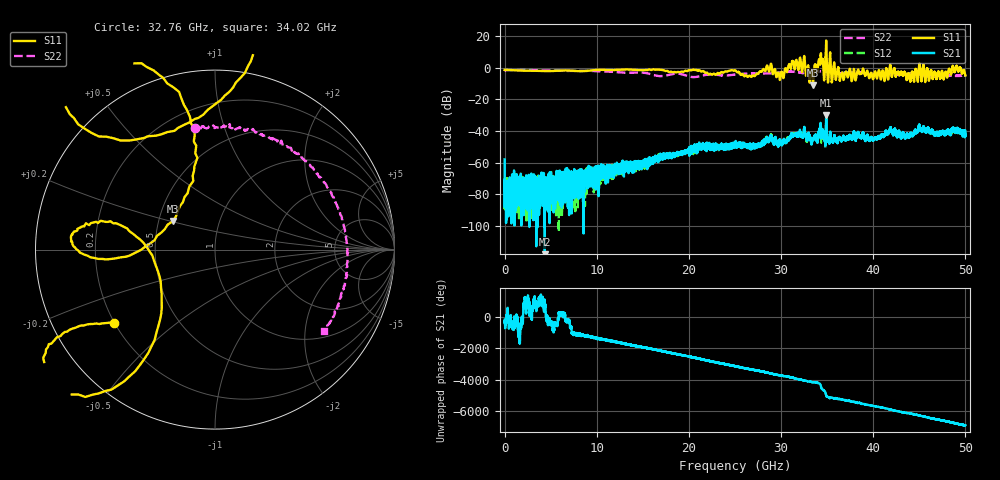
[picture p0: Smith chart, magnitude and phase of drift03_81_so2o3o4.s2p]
!Created with skrf (http://scikit-rf.org).
# Hz S RI R 50.0
!freq ReS11 ImS11 ReS21 ImS21 ReS12 ImS12 ReS22 ImS22
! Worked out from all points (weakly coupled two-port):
!   10001 points, 300 kHz to 50 GHz, reference 50 ohm
!   highest |S21| = -29.88 dB at 34.9 GHz (marker M1); lowest = -125.8 dB at 4.36 GHz (marker M2)
!   lowest |S11| = -11.0 dB at 33.47 GHz (marker M3), VSWR 1.79, Z = 29.7 + j10.3 ohm
!   |S11| at or under -10 dB: 33.44903 GHz to 33.48309 GHz (34.05 MHz wide, 0.102 % of centre)
!   |S22| runs from -5.9 to -1.3 dB; largest |S21 - S12| = 0.0065
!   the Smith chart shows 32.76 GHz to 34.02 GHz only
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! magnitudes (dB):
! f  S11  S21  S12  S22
! 300 kHz  -1.3  -57.9  -69.8  -2.1
! 265.3 MHz  -1.3  -76.9  -78.2  -1.4
! 4.36 GHz  -2.1  -125.8  -72.0  -1.6
! 8.335 GHz  -2.2  -65.2  -69.6  -1.9
! 16.67 GHz  -1.1  -57.2  -57.7  -5.2
! 25 GHz  -1.5  -49.2  -47.1  -4.3
! 26.92 GHz  -4.9  -49.0  -48.9  -3.6
! 28.73 GHz  -2.2  -45.8  -45.7  -3.5
! 30.06 GHz  -2.5  -46.9  -47.5  -2.8
! 31.87 GHz  -1.4  -42.2  -42.5  -2.9
! 33.34 GHz  -2.2  -47.4  -47.5  -2.9
! 33.47 GHz  -11.0  -45.1  -45.6  -2.8
! 34.3 GHz  7.7  -35.5  -36.1  -2.3
! 34.9 GHz  17.3  -29.9  -31.1  -2.4
! 36.58 GHz  -3.5  -46.4  -45.9  -3.6
! 40.15 GHz  -2.9  -45.0  -44.7  -3.7
! 41.67 GHz  -5.4  -41.1  -40.4  -3.6
! 43.84 GHz  -3.6  -43.4  -43.6  -3.8
! 45.21 GHz  -7.3  -39.6  -39.9  -4.4
! 47.83 GHz  -2.5  -41.6  -41.1  -4.8
! 49.21 GHz  -2.0  -40.3  -39.6  -5.2
! 50 GHz  -4.8  -42.3  -42.0  -5.0
